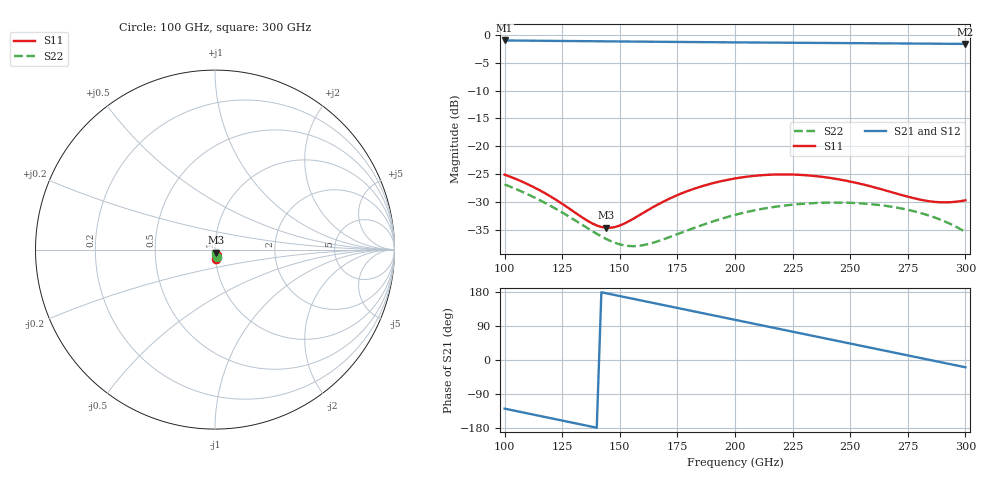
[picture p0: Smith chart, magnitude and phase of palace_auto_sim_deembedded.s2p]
! Created with skrf 1.11.0 (http://scikit-rf.org).
# GHz S DB R 50.0
!freq dBS11 angS11 dBS21 angS21 dBS12 angS12 dBS22 angS22
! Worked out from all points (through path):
!   101 points, 100 GHz to 300 GHz, reference 50 ohm
!   highest |S21| = -0.98 dB at 100 GHz (marker M1); lowest = -1.6 dB at 300 GHz (marker M2)
!   group delay of S21, straight-line fit = 3.48 ps
!   lowest |S11| = -34.7 dB at 144 GHz (marker M3), VSWR 1.04, Z = 50.7 - j1.73 ohm
!   |S11| at or under -10 dB: start of sweep to end of sweep
!   |S22| runs from -38.0 to -26.9 dB; largest |S21 - S12| = 1.5e-13
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100  -25.12 -83.9  -0.98 -128.3  -0.98 -128.3  -26.88 -73.7
110  -26.84 -91.1  -1.02 -140.9  -1.02 -140.9  -28.65 -79.5
118  -28.57 -94.6  -1.05 -151.0  -1.05 -151.0  -30.31 -82.4
126  -30.65 -94.6  -1.07 -161.1  -1.07 -161.1  -32.18 -83.1
134  -32.91 -88.1  -1.10 -171.2  -1.10 -171.2  -34.23 -80.3
140  -34.27 -77.1  -1.12 -178.7  -1.12 -178.7  -35.76 -75.0
144  -34.68 -67.3  -1.14 176.3  -1.14 176.3  -36.68 -69.6
150  -34.28 -52.8  -1.16 168.7  -1.16 168.7  -37.67 -59.0
156  -33.03 -42.6  -1.18 161.2  -1.18 161.2  -37.99 -47.0
168  -30.17 -36.2  -1.22 146.1  -1.22 146.1  -36.90 -28.0
184  -27.43 -41.4  -1.27 126.1  -1.27 126.1  -34.46 -18.4
200  -25.81 -51.9  -1.32 106.0  -1.32 106.0  -32.37 -19.8
208  -25.36 -57.9  -1.35 96.0  -1.35 96.0  -31.59 -22.9
216  -25.12 -64.1  -1.37 86.0  -1.37 86.0  -31.00 -27.0
224  -25.10 -70.3  -1.39 76.0  -1.39 76.0  -30.57 -31.7
234  -25.34 -77.4  -1.42 63.5  -1.42 63.5  -30.25 -38.1
252  -26.54 -87.3  -1.47 40.9  -1.47 40.9  -30.23 -51.3
268  -28.28 -89.8  -1.51 20.9  -1.51 20.9  -30.90 -64.3
276  -29.19 -87.3  -1.53 10.9  -1.53 10.9  -31.55 -71.2
284  -29.89 -81.9  -1.55 0.8  -1.55 0.8  -32.46 -78.2
292  -30.11 -74.5  -1.58 -9.2  -1.58 -9.2  -33.71 -85.3
300  -29.74 -67.3  -1.60 -19.2  -1.60 -19.2  -35.45 -92.4
